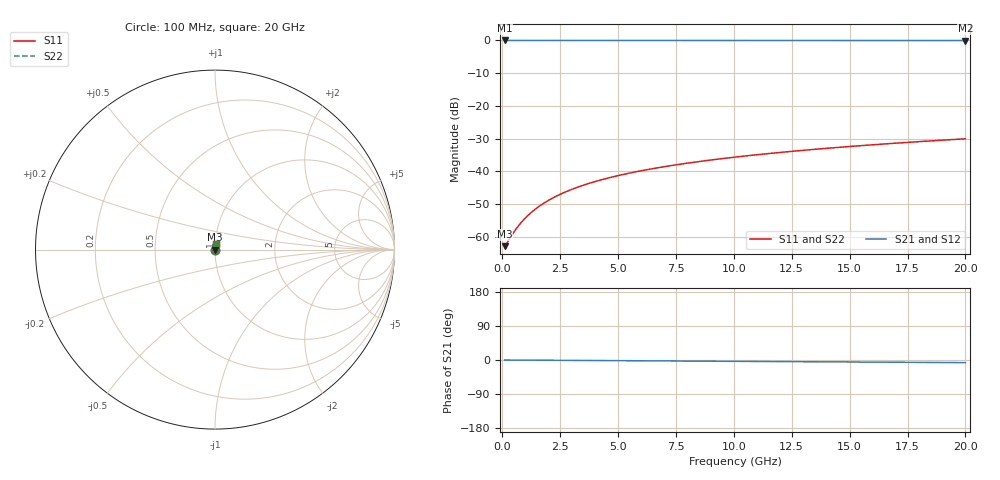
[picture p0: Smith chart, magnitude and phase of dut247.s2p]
! Touchstone file exported from HFSS 2026.1.0
!  File:  C:/ffzhzh/LocalFiles/Ansys_Project_Files/temp_train_TSV_247_1782992744_41620.aedt
!  Generated:  07:47:47 PM Jul  2, 2026
!  Design:  TSV
!  Project:  temp_train_TSV_247_1782992744_41620
! Variables:
!  h_bsmrdl = 2um
!  h_ox = 20um
!  h_rdl = 5um
!  h_sub = 70.87um
!  h_tmrdl = 5um
!  h_tsv = 70.87um
!  h_via = 3um
!  l_bsmrdl = 300um
!  l_sub = 407um
!  l_tmrdl = 200um
!  m_sub = 200um
!  pitch = 20.58um
!  r_tsv = 3.5um
!  s_tmrdl = 10um
!  w_bsmrdl = 18um
!  w_sub = 500um
!  w_tmrdl = 12um
!  x_tsv_center1 = 206um
!  x_tsv_center2 = 524um
!  x_tsv_center3 = 736um
!  x_tsv_center4 = 1054um
!  x_tsv_center5 = 1266um
!  x_tsv_center6 = 1584um
# GHz S MA R 50.000000
! Terminal data exported
! Port[1] = TSV1_1_T1
! Port[2] = TSV1_1_T2
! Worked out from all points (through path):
!   200 points, 100 MHz to 20 GHz, reference 50 ohm
!   highest |S21| = -0.01 dB at 100 MHz (marker M1); lowest = 0.0 dB at 20 GHz (marker M2)
!   lowest |S11| = -62.9 dB at 100 MHz (marker M3), VSWR 1.00, Z = 50.1 + j0.0196 ohm
!   |S11| at or under -10 dB: start of sweep to end of sweep
!   |S22| runs from -62.9 to -30.0 dB; largest |S21 - S12| = 6e-15
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0.1  0.0007202 15.7  0.9993 -0.0  0.9993 -0.0  0.0007202 15.7
! Gamma 0 0 0 0
! Port Impedance 50 0 50 0
0.2  0.0008041 28.5  0.9993 -0.1  0.9993 -0.1  0.0008041 28.5
0.5  0.001181 50.8  0.9993 -0.2  0.9993 -0.2  0.001181 50.8
0.6  0.001326 55.2  0.9992 -0.2  0.9992 -0.2  0.001326 55.2
0.8  0.001629 61.6  0.9992 -0.3  0.9992 -0.3  0.001629 61.6
1.1  0.002109 67.6  0.9992 -0.4  0.9992 -0.4  0.002109 67.6
1.4  0.002605 71.4  0.9992 -0.5  0.9992 -0.5  0.002605 71.4
1.8  0.003278 74.4  0.9991 -0.6  0.9991 -0.6  0.003278 74.4
2  0.003616 75.5  0.9991 -0.7  0.9991 -0.7  0.003616 75.5
2.3  0.004125 76.7  0.9991 -0.8  0.9991 -0.8  0.004125 76.7
2.9  0.005139 78.2  0.999 -1.0  0.999 -1.0  0.005139 78.2
3.5  0.006146 79.0  0.9989 -1.2  0.9989 -1.2  0.006146 79.0
4.2  0.007307 79.5  0.9988 -1.5  0.9988 -1.5  0.007307 79.5
5  0.008615 79.8  0.9987 -1.8  0.9987 -1.8  0.008615 79.8
5.9  0.01006 80.0  0.9986 -2.1  0.9986 -2.1  0.01006 80.0
6.8  0.01149 80.0  0.9984 -2.4  0.9984 -2.4  0.01149 80.0
8.3  0.01383 80.0  0.9982 -2.9  0.9982 -2.9  0.01383 80.0
10.1  0.01659 79.8  0.9979 -3.5  0.9979 -3.5  0.01659 79.8
11.7  0.01902 79.6  0.9977 -4.1  0.9977 -4.1  0.01902 79.6
13.4  0.02158 79.4  0.9975 -4.7  0.9975 -4.7  0.02158 79.4
16.7  0.02653 78.8  0.9971 -5.8  0.9971 -5.8  0.02653 78.8
20  0.03144 78.0  0.9968 -7.0  0.9968 -7.0  0.03144 78.0
